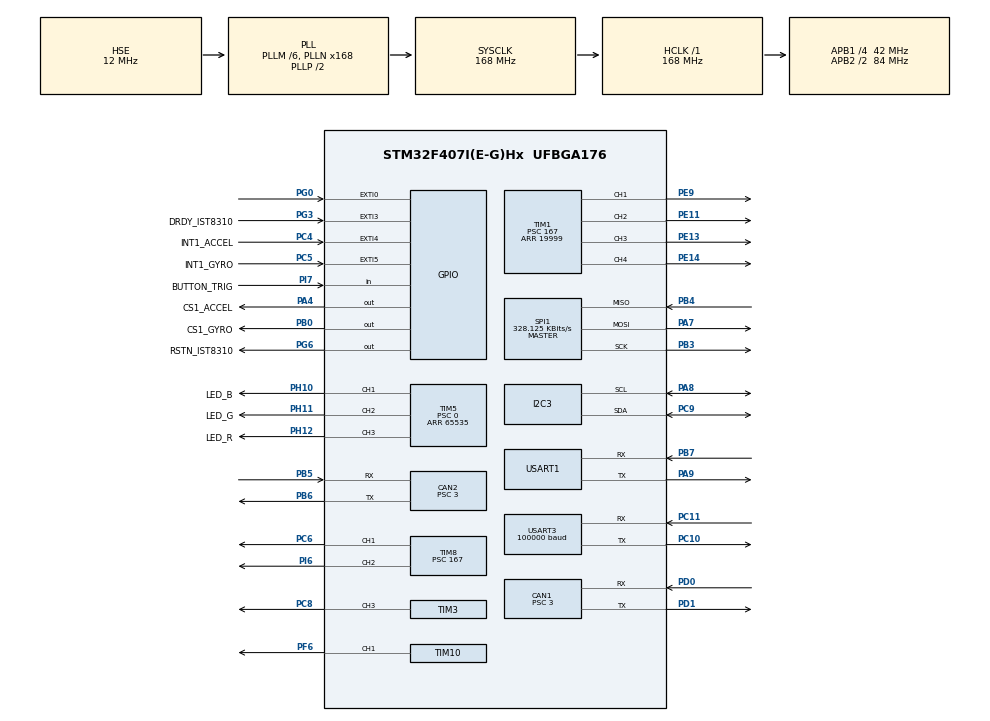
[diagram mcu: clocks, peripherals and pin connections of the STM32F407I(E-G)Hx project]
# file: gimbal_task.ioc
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CAN1.BS1=CAN_BS1_10TQ
CAN1.BS2=CAN_BS2_3TQ
CAN1.CalculateTimeQuantum=71.42857142857143
CAN1.Prescaler=3
CAN2.BS1=CAN_BS1_10TQ
CAN2.BS2=CAN_BS2_3TQ
CAN2.CalculateTimeQuantum=71.42857142857143
CAN2.Prescaler=3
Dma.Request0=SPI1_RX
Dma.Request1=SPI1_TX
Dma.Request2=USART3_RX
Dma.SPI1_RX.0.Direction=DMA_PERIPH_TO_MEMORY
Dma.SPI1_RX.0.FIFOMode=DMA_FIFOMODE_DISABLE
Dma.SPI1_RX.0.Instance=DMA2_Stream2
Dma.SPI1_RX.0.MemDataAlignment=DMA_MDATAALIGN_BYTE
Dma.SPI1_RX.0.MemInc=DMA_MINC_ENABLE
Dma.SPI1_RX.0.Mode=DMA_NORMAL
Dma.SPI1_RX.0.PeriphDataAlignment=DMA_PDATAALIGN_BYTE
Dma.SPI1_RX.0.PeriphInc=DMA_PINC_DISABLE
Dma.SPI1_RX.0.Priority=DMA_PRIORITY_VERY_HIGH
Dma.SPI1_TX.1.Direction=DMA_MEMORY_TO_PERIPH
Dma.SPI1_TX.1.FIFOMode=DMA_FIFOMODE_DISABLE
Dma.SPI1_TX.1.Instance=DMA2_Stream3
Dma.SPI1_TX.1.MemDataAlignment=DMA_MDATAALIGN_BYTE
Dma.SPI1_TX.1.MemInc=DMA_MINC_ENABLE
Dma.SPI1_TX.1.Mode=DMA_NORMAL
Dma.SPI1_TX.1.PeriphDataAlignment=DMA_PDATAALIGN_BYTE
Dma.SPI1_TX.1.PeriphInc=DMA_PINC_DISABLE
Dma.SPI1_TX.1.Priority=DMA_PRIORITY_HIGH
Dma.USART3_RX.2.Direction=DMA_PERIPH_TO_MEMORY
Dma.USART3_RX.2.FIFOMode=DMA_FIFOMODE_DISABLE
Dma.USART3_RX.2.Instance=DMA1_Stream1
Dma.USART3_RX.2.MemDataAlignment=DMA_MDATAALIGN_BYTE
Dma.USART3_RX.2.MemInc=DMA_MINC_ENABLE
Dma.USART3_RX.2.Mode=DMA_NORMAL
Dma.USART3_RX.2.PeriphDataAlignment=DMA_PDATAALIGN_BYTE
Dma.USART3_RX.2.PeriphInc=DMA_PINC_DISABLE
Dma.USART3_RX.2.Priority=DMA_PRIORITY_HIGH
FREERTOS.INCLUDE_eTaskGetState=1
FREERTOS.INCLUDE_pcTaskGetTaskName=1
FREERTOS.INCLUDE_uxTaskGetStackHighWaterMark=1
FREERTOS.INCLUDE_vTaskCleanUpResources=1
FREERTOS.INCLUDE_vTaskDelayUntil=1
FREERTOS.INCLUDE_xEventGroupSetBitFromISR=1
FREERTOS.INCLUDE_xQueueGetMutexHolder=1
FREERTOS.INCLUDE_xSemaphoreGetMutexHolder=1
FREERTOS.INCLUDE_xTaskAbortDelay=1
FREERTOS.INCLUDE_xTaskGetCurrentTaskHandle=1
FREERTOS.INCLUDE_xTaskGetHandle=1
FREERTOS.INCLUDE_xTimerPendFunctionCall=1
FREERTOS.Tasks01=test,24,128,test_task,As weak,NULL,Dynamic,NULL,NULL
FREERTOS.configTOTAL_HEAP_SIZE=24576
I2C3.I2C_Mode=I2C_Fast
Mcu.Family=STM32F4
Mcu.Name=STM32F407I(E-G)Hx
Mcu.Package=UFBGA176
NVIC.CAN1_RX0_IRQn=true\:6\:0\:true\:false\:true\:true\:true\:true\:true
NVIC.CAN2_RX0_IRQn=true\:6\:0\:true\:false\:true\:true\:true\:true\:true
NVIC.DMA1_Stream1_IRQn=true\:5\:0\:true\:false\:false\:true\:false\:false\:true
NVIC.DMA2_Stream2_IRQn=true\:5\:0\:true\:false\:false\:true\:false\:true\:true
NVIC.DMA2_Stream3_IRQn=true\:5\:0\:true\:false\:false\:true\:false\:true\:true
NVIC.EXTI0_IRQn=true\:6\:0\:true\:false\:true\:true\:true\:true\:true
NVIC.EXTI3_IRQn=true\:5\:0\:true\:false\:true\:true\:true\:true\:true
NVIC.EXTI4_IRQn=true\:5\:0\:true\:false\:true\:true\:true\:true\:true
NVIC.EXTI9_5_IRQn=true\:5\:0\:true\:false\:true\:true\:true\:true\:true
NVIC.PriorityGroup=NVIC_PRIORITYGROUP_4
NVIC.USART1_IRQn=true\:5\:0\:false\:false\:true\:true\:true\:true\:true
NVIC.USART3_IRQn=true\:4\:0\:true\:false\:false\:false\:true\:true\:true
PA13.Mode=Serial_Wire
PA13.Signal=SYS_JTMS-SWDIO
PA14.Mode=Serial_Wire
PA14.Signal=SYS_JTCK-SWCLK
PA4.GPIO_Label=CS1_ACCEL
PA4.GPIO_PuPd=GPIO_PULLUP
PA4.GPIO_Speed=GPIO_SPEED_FREQ_HIGH
PA4.PinState=GPIO_PIN_SET
PA4.Signal=GPIO_Output
PA7.GPIO_PuPd=GPIO_PULLUP
PA7.Mode=Full_Duplex_Master
PA7.Signal=SPI1_MOSI
PA8.Mode=I2C
PA8.Signal=I2C3_SCL
PA9.Mode=Asynchronous
PA9.Signal=USART1_TX
PB0.GPIO_Label=CS1_GYRO
PB0.GPIO_PuPd=GPIO_PULLUP
PB0.GPIO_Speed=GPIO_SPEED_FREQ_HIGH
PB0.PinState=GPIO_PIN_SET
PB0.Signal=GPIO_Output
PB3.GPIO_PuPd=GPIO_PULLUP
PB3.Mode=Full_Duplex_Master
PB3.Signal=SPI1_SCK
PB4.GPIO_PuPd=GPIO_PULLUP
PB4.Mode=Full_Duplex_Master
PB4.Signal=SPI1_MISO
PB5.Mode=Slave
PB5.Signal=CAN2_RX
PB6.Mode=Slave
PB6.Signal=CAN2_TX
PB7.Mode=Asynchronous
PB7.Signal=USART1_RX
PC10.Mode=Asynchronous
PC10.Signal=USART3_TX
PC11.Mode=Asynchronous
PC11.Signal=USART3_RX
PC4.GPIO_Label=INT1_ACCEL
PC4.GPIO_ModeDefaultEXTI=GPIO_MODE_IT_FALLING
PC4.GPIO_PuPd=GPIO_PULLUP
PC4.Signal=GPXTI4
PC5.GPIO_Label=INT1_GYRO
PC5.GPIO_ModeDefaultEXTI=GPIO_MODE_IT_FALLING
PC5.GPIO_PuPd=GPIO_PULLUP
PC5.Signal=GPXTI5
PC6.GPIO_PuPd=GPIO_PULLUP
PC6.GPIO_Speed=GPIO_SPEED_FREQ_HIGH
PC6.Signal=S_TIM8_CH1
PC8.GPIO_PuPd=GPIO_PULLUP
PC8.GPIO_Speed=GPIO_SPEED_FREQ_HIGH
PC8.Signal=S_TIM3_CH3
PC9.Mode=I2C
PC9.Signal=I2C3_SDA
PD0.Mode=Master
PD0.Signal=CAN1_RX
PD1.Mode=Master
PD1.Signal=CAN1_TX
PE11.GPIO_PuPd=GPIO_PULLUP
PE11.GPIO_Speed=GPIO_SPEED_FREQ_HIGH
PE11.Signal=S_TIM1_CH2
PE13.GPIO_PuPd=GPIO_PULLUP
PE13.GPIO_Speed=GPIO_SPEED_FREQ_HIGH
PE13.Signal=S_TIM1_CH3
PE14.GPIO_PuPd=GPIO_PULLUP
PE14.GPIO_Speed=GPIO_SPEED_FREQ_HIGH
PE14.Signal=S_TIM1_CH4
PE9.GPIO_PuPd=GPIO_PULLUP
PE9.GPIO_Speed=GPIO_SPEED_FREQ_HIGH
PE9.Signal=S_TIM1_CH1
PF6.GPIO_PuPd=GPIO_PULLUP
PF6.GPIO_Speed=GPIO_SPEED_FREQ_HIGH
PF6.Signal=S_TIM10_CH1
PG0.GPIO_ModeDefaultEXTI=GPIO_MODE_IT_FALLING
PG0.GPIO_PuPd=GPIO_PULLUP
PG0.Signal=GPXTI0
PG3.GPIO_Label=DRDY_IST8310
PG3.GPIO_ModeDefaultEXTI=GPIO_MODE_IT_FALLING
PG3.GPIO_PuPd=GPIO_PULLUP
PG3.Signal=GPXTI3
PG6.GPIO_Label=RSTN_IST8310
PG6.GPIO_PuPd=GPIO_PULLUP
PG6.GPIO_Speed=GPIO_SPEED_FREQ_MEDIUM
PG6.PinState=GPIO_PIN_SET
PG6.Signal=GPIO_Output
PH0-OSC_IN.Mode=HSE-External-Oscillator
PH0-OSC_IN.Signal=RCC_OSC_IN
PH1-OSC_OUT.Mode=HSE-External-Oscillator
PH1-OSC_OUT.Signal=RCC_OSC_OUT
PH10.GPIO_Label=LED_B
PH10.GPIO_PuPd=GPIO_PULLUP
PH10.GPIO_Speed=GPIO_SPEED_FREQ_HIGH
PH10.Signal=S_TIM5_CH1
PH11.GPIO_Label=LED_G
PH11.GPIO_PuPd=GPIO_PULLUP
PH11.GPIO_Speed=GPIO_SPEED_FREQ_HIGH
PH11.Signal=S_TIM5_CH2
PH12.GPIO_Label=LED_R
PH12.GPIO_PuPd=GPIO_PULLUP
PH12.GPIO_Speed=GPIO_SPEED_FREQ_HIGH
PH12.Signal=S_TIM5_CH3
PI6.GPIO_PuPd=GPIO_PULLUP
PI6.GPIO_Speed=GPIO_SPEED_FREQ_HIGH
PI6.Signal=S_TIM8_CH2
PI7.GPIO_Label=BUTTON_TRIG
PI7.GPIO_PuPd=GPIO_PULLUP
PI7.Signal=GPIO_Input
ProjectManager.HeapSize=0x2000
ProjectManager.StackSize=0x2000
ProjectManager.TargetToolchain=MDK-ARM V5
RCC.48MHZClocksFreq_Value=48000000
RCC.AHBFreq_Value=168000000
RCC.APB1CLKDivider=RCC_HCLK_DIV4
RCC.APB1Freq_Value=42000000
RCC.APB1TimFreq_Value=84000000
RCC.APB2CLKDivider=RCC_HCLK_DIV2
RCC.APB2Freq_Value=84000000
RCC.APB2TimFreq_Value=168000000
RCC.CortexFreq_Value=168000000
RCC.HCLKFreq_Value=168000000
RCC.HSE_VALUE=12000000
RCC.HSI_VALUE=16000000
RCC.LSE_VALUE=32768
RCC.PLLM=6
RCC.PLLN=168
RCC.PLLQ=7
RCC.PLLSourceVirtual=RCC_PLLSOURCE_HSE
RCC.RCC_RTC_Clock_SourceVirtual=RCC_RTCCLKSOURCE_HSE_DIV30
RCC.RCC_RTC_Clock_Source_FROM_HSE=RCC_RTCCLKSOURCE_HSE_DIV30
RCC.SYSCLKFreq_VALUE=168000000
RCC.SYSCLKSource=RCC_SYSCLKSOURCE_PLLCLK
RCC.VCOOutputFreq_Value=336000000
RTC.AsynchPrediv=124
RTC.SynchPrediv=3199
SH.S_TIM10_CH1.0=TIM10_CH1,PWM Generation1 CH1
SH.S_TIM1_CH1.0=TIM1_CH1,PWM Generation1 CH1
SH.S_TIM1_CH2.0=TIM1_CH2,PWM Generation2 CH2
SH.S_TIM1_CH3.0=TIM1_CH3,PWM Generation3 CH3
SH.S_TIM1_CH4.0=TIM1_CH4,PWM Generation4 CH4
SH.S_TIM3_CH3.0=TIM3_CH3,PWM Generation3 CH3
SH.S_TIM5_CH1.0=TIM5_CH1,PWM Generation1 CH1
SH.S_TIM5_CH2.0=TIM5_CH2,PWM Generation2 CH2
SH.S_TIM5_CH3.0=TIM5_CH3,PWM Generation3 CH3
SH.S_TIM8_CH1.0=TIM8_CH1,PWM Generation1 CH1
SH.S_TIM8_CH2.0=TIM8_CH2,PWM Generation2 CH2
SPI1.BaudRatePrescaler=SPI_BAUDRATEPRESCALER_256
SPI1.CLKPhase=SPI_PHASE_2EDGE
SPI1.CLKPolarity=SPI_POLARITY_HIGH
SPI1.CalculateBaudRate=328.125 KBits/s
SPI1.Direction=SPI_DIRECTION_2LINES
SPI1.Mode=SPI_MODE_MASTER
SPI1.VirtualType=VM_MASTER
TIM1.Channel-PWM\ Generation1\ CH1=TIM_CHANNEL_1
TIM1.Channel-PWM\ Generation2\ CH2=TIM_CHANNEL_2
TIM1.Channel-PWM\ Generation3\ CH3=TIM_CHANNEL_3
TIM1.Channel-PWM\ Generation4\ CH4=TIM_CHANNEL_4
TIM1.Period=19999
TIM1.Prescaler=167
TIM1.Pulse-PWM\ Generation1\ CH1=1000
TIM1.Pulse-PWM\ Generation2\ CH2=1000
TIM1.Pulse-PWM\ Generation3\ CH3=1000
TIM1.Pulse-PWM\ Generation4\ CH4=1000
TIM10.Channel=TIM_CHANNEL_1
TIM10.Period=4999
TIM3.Channel-PWM\ Generation3\ CH3=TIM_CHANNEL_3
TIM3.Period=8399
TIM4.Period=65535
TIM4.Prescaler=167
TIM5.Channel-PWM\ Generation1\ CH1=TIM_CHANNEL_1
TIM5.Channel-PWM\ Generation2\ CH2=TIM_CHANNEL_2
TIM5.Channel-PWM\ Generation3\ CH3=TIM_CHANNEL_3
TIM5.Period=65535
TIM5.Prescaler=0
TIM8.Channel-PWM\ Generation1\ CH1=TIM_CHANNEL_1
TIM8.Channel-PWM\ Generation2\ CH2=TIM_CHANNEL_2
TIM8.Period=19999
TIM8.Prescaler=167
TIM8.Pulse-PWM\ Generation1\ CH1=1000
TIM8.Pulse-PWM\ Generation2\ CH2=1000
USART1.VirtualMode=VM_ASYNC
USART3.BaudRate=100000
USART3.Parity=PARITY_EVEN
USART3.VirtualMode=VM_ASYNC
VP_CRC_VS_CRC.Mode=CRC_Activate
VP_FREERTOS_VS_CMSIS_V1.Mode=CMSIS_V1
VP_RTC_VS_RTC_Activate.Mode=RTC_Enabled
VP_TIM10_VS_ClockSourceINT.Mode=Enable_Timer
VP_TIM1_VS_ClockSourceINT.Mode=Internal
VP_TIM3_VS_ClockSourceINT.Mode=Internal
VP_TIM4_VS_ClockSourceINT.Mode=Internal
VP_TIM5_VS_ClockSourceINT.Mode=Internal
VP_TIM8_VS_ClockSourceINT.Mode=Internal
board=custom

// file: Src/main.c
/* USER CODE BEGIN Header */
/**
  ******************************************************************************
  * @file           : main.c
  * @brief          : Main program body
  ******************************************************************************
  * @attention
  *
  * <h2><center>&copy; Copyright (c) 2019 STMicroelectronics.
  * All rights reserved.</center></h2>
  *
  * This software component is licensed by ST under Ultimate Liberty license
  * SLA0044, the "License"; You may not use this file except in compliance with
  * the License. You may obtain a copy of the License at:
  *                             www.st.com/SLA0044
  *
  ******************************************************************************
  */
/* USER CODE END Header */

#include "main.h"
#include "cmsis_os.h"
#include "can.h"
#include "crc.h"
#include "dma.h"
#include "i2c.h"
#include "rtc.h"
#include "spi.h"
#include "tim.h"
#include "usart.h"
#include "gpio.h"

/* USER CODE BEGIN Includes */
#include "bsp_can.h"
#include "bsp_delay.h"
#include "remote_control.h"
#include "detect_task.h"
#include "gimbal_task.h"
#include "INS_task.h"
#include "led_flow_task.h"
#include "bsp_dwt.h"
/* USER CODE END Includes */

void SystemClock_Config(void);
void MX_FREERTOS_Init(void);

int main(void)
{

  /* MCU Configuration--------------------------------------------------------*/

  /* Reset of all peripherals, Initializes the Flash interface and the Systick. */
  HAL_Init();

  /* Configure the system clock */
  SystemClock_Config();

  /* Initialize all configured peripherals */
  MX_GPIO_Init();
  MX_DMA_Init();
  MX_CAN1_Init();
  MX_CAN2_Init();
  MX_SPI1_Init();
  MX_TIM4_Init();
  MX_TIM5_Init();
  MX_USART3_UART_Init();
  MX_TIM8_Init();
  MX_I2C3_Init();
  MX_RTC_Init();
  MX_TIM1_Init();
  MX_TIM3_Init();
  MX_TIM10_Init();
  MX_USART1_UART_Init();
  MX_CRC_Init();
  /* USER CODE BEGIN 2 */
    can_filter_init();
    delay_init();
    remote_control_init();
	DWT_Init(168);
    while (BMI088_init(&hspi1, 1) != BMI088_NO_ERROR);
	INS_Init();
  /* USER CODE END 2 */

  /* Call init function for freertos objects (in freertos.c) */
  MX_FREERTOS_Init();

  /* Start scheduler */
  osKernelStart();

  /* We should never get here as control is now taken by the scheduler */

  /* Infinite loop */
  while (1)
  {

  }
}

void SystemClock_Config(void)
{
  RCC_OscInitTypeDef RCC_OscInitStruct = {0};
  RCC_ClkInitTypeDef RCC_ClkInitStruct = {0};
  RCC_PeriphCLKInitTypeDef PeriphClkInitStruct = {0};

  /** Configure the main internal regulator output voltage
  */
  __HAL_RCC_PWR_CLK_ENABLE();
  __HAL_PWR_VOLTAGESCALING_CONFIG(PWR_REGULATOR_VOLTAGE_SCALE1);
  /** Initializes the CPU, AHB and APB busses clocks
  */
  RCC_OscInitStruct.OscillatorType = RCC_OSCILLATORTYPE_HSE;
  RCC_OscInitStruct.HSEState = RCC_HSE_ON;
  RCC_OscInitStruct.PLL.PLLState = RCC_PLL_ON;
  RCC_OscInitStruct.PLL.PLLSource = RCC_PLLSOURCE_HSE;
  RCC_OscInitStruct.PLL.PLLM = 6;
  RCC_OscInitStruct.PLL.PLLN = 168;
  RCC_OscInitStruct.PLL.PLLP = RCC_PLLP_DIV2;
  RCC_OscInitStruct.PLL.PLLQ = 7;
  if (HAL_RCC_OscConfig(&RCC_OscInitStruct) != HAL_OK)
  {
    Error_Handler();
  }
  /** Initializes the CPU, AHB and APB busses clocks
  */
  RCC_ClkInitStruct.ClockType = RCC_CLOCKTYPE_HCLK|RCC_CLOCKTYPE_SYSCLK
                              |RCC_CLOCKTYPE_PCLK1|RCC_CLOCKTYPE_PCLK2;
  RCC_ClkInitStruct.SYSCLKSource = RCC_SYSCLKSOURCE_PLLCLK;
  RCC_ClkInitStruct.AHBCLKDivider = RCC_SYSCLK_DIV1;
  RCC_ClkInitStruct.APB1CLKDivider = RCC_HCLK_DIV4;
  RCC_ClkInitStruct.APB2CLKDivider = RCC_HCLK_DIV2;

  if (HAL_RCC_ClockConfig(&RCC_ClkInitStruct, FLASH_LATENCY_5) != HAL_OK)
  {
    Error_Handler();
  }
  PeriphClkInitStruct.PeriphClockSelection = RCC_PERIPHCLK_RTC;
  PeriphClkInitStruct.RTCClockSelection = RCC_RTCCLKSOURCE_HSE_DIV30;
  if (HAL_RCCEx_PeriphCLKConfig(&PeriphClkInitStruct) != HAL_OK)
  {
    Error_Handler();
  }
}

void Error_Handler(void)
{
}

/************************ (C) COPYRIGHT STMicroelectronics *****END OF FILE****/

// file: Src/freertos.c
/* USER CODE BEGIN Header */
/**
  ******************************************************************************
  * File Name          : freertos.c
  * Description        : Code for freertos applications
  ******************************************************************************
  * @attention
  *
  * <h2><center>&copy; Copyright (c) 2019 STMicroelectronics.
  * All rights reserved.</center></h2>
  *
  * This software component is licensed by ST under Ultimate Liberty license
  * SLA0044, the "License"; You may not use this file except in compliance with
  * the License. You may obtain a copy of the License at:
  *                             www.st.com/SLA0044
  *
  ******************************************************************************
  */
/* USER CODE END Header */

#include "FreeRTOS.h"
#include "task.h"
#include "main.h"
#include "cmsis_os.h"
#include "Self_aim.h"
/* USER CODE BEGIN Includes */
#include "detect_task.h"
#include "gimbal_task.h"
#include "INS_task.h"
#include "led_flow_task.h"
#include "CAN_task.h"
/* USER CODE END Includes */

/* USER CODE BEGIN PTD */

osThreadId detect_handle;
osThreadId gimbalTaskHandle;
osThreadId imuTaskHandle;
osThreadId led_RGB_flow_handle;
osThreadId can_task_handle;
osThreadId Self_aim_task_handle;
/* USER CODE END PTD */

osThreadId testHandle;

/* USER CODE BEGIN FunctionPrototypes */
extern void ins_task(void const * argument);
/* USER CODE END FunctionPrototypes */

void test_task(void const * argument);

void MX_FREERTOS_Init(void); /* (MISRA C 2004 rule 8.1) */

/* GetIdleTaskMemory prototype (linked to static allocation support) */
void vApplicationGetIdleTaskMemory( StaticTask_t **ppxIdleTaskTCBBuffer, StackType_t **ppxIdleTaskStackBuffer, uint32_t *pulIdleTaskStackSize );

/* GetTimerTaskMemory prototype (linked to static allocation support) */
void vApplicationGetTimerTaskMemory( StaticTask_t **ppxTimerTaskTCBBuffer, StackType_t **ppxTimerTaskStackBuffer, uint32_t *pulTimerTaskStackSize );

/* USER CODE BEGIN GET_IDLE_TASK_MEMORY */
static StaticTask_t xIdleTaskTCBBuffer;
static StackType_t xIdleStack[configMINIMAL_STACK_SIZE];

void vApplicationGetIdleTaskMemory( StaticTask_t **ppxIdleTaskTCBBuffer, StackType_t **ppxIdleTaskStackBuffer, uint32_t *pulIdleTaskStackSize )
{
  *ppxIdleTaskTCBBuffer = &xIdleTaskTCBBuffer;
  *ppxIdleTaskStackBuffer = &xIdleStack[0];
  *pulIdleTaskStackSize = configMINIMAL_STACK_SIZE;
  /* place for user code */
}
/* USER CODE END GET_IDLE_TASK_MEMORY */

/* USER CODE BEGIN GET_TIMER_TASK_MEMORY */
static StaticTask_t xTimerTaskTCBBuffer;
static StackType_t xTimerStack[configTIMER_TASK_STACK_DEPTH];

void vApplicationGetTimerTaskMemory( StaticTask_t **ppxTimerTaskTCBBuffer, StackType_t **ppxTimerTaskStackBuffer, uint32_t *pulTimerTaskStackSize )
{
  *ppxTimerTaskTCBBuffer = &xTimerTaskTCBBuffer;
  *ppxTimerTaskStackBuffer = &xTimerStack[0];
  *pulTimerTaskStackSize = configTIMER_TASK_STACK_DEPTH;
  /* place for user code */
}
/* USER CODE END GET_TIMER_TASK_MEMORY */

void MX_FREERTOS_Init(void) {

  /* Create the thread(s) */
  /* definition and creation of test */
  osThreadDef(test, test_task, osPriorityNormal, 0, 128);
  testHandle = osThreadCreate(osThread(test), NULL);

  /* USER CODE BEGIN RTOS_THREADS */
  /* add threads, ... */
    osThreadDef(DETECT, detect_task, osPriorityNormal, 0, 256);
    detect_handle = osThreadCreate(osThread(DETECT), NULL);

    osThreadDef(gimbalTask, gimbal_task, osPriorityHigh, 0, 512);
    gimbalTaskHandle = osThreadCreate(osThread(gimbalTask), NULL);

    osThreadDef(imuTask, ins_task, osPriorityRealtime, 0, 1024);
    imuTaskHandle = osThreadCreate(osThread(imuTask), NULL);

    osThreadDef(led, led_RGB_flow_task, osPriorityNormal, 0, 256);
    led_RGB_flow_handle = osThreadCreate(osThread(led), NULL);

	osThreadDef(CAN_task, can_task, osPriorityNormal, 0, 256);
    can_task_handle = osThreadCreate(osThread(CAN_task), NULL);
	osThreadDef(SELF_AIM_task, Self_aim_task, osPriorityNormal, 0, 256);
    can_task_handle = osThreadCreate(osThread(SELF_AIM_task), NULL);

  /* USER CODE END RTOS_THREADS */

}

__weak void test_task(void const * argument)
{

  for(;;)
  {
    osDelay(1);
  }
}

/* USER CODE BEGIN Application */
void ins_task(void const * argument)
{
  /* USER CODE BEGIN rc_task */
  float s[3] = {0};
  /* Infinite loop */
  for(;;)
  {
	INS_Task();

	s[0] = INS.Pitch;
	s[1] = INS.Roll;
	s[2] = INS.Yaw;

    osDelay(1);
  }
 }
/* USER CODE END Application */

/************************ (C) COPYRIGHT STMicroelectronics *****END OF FILE****/
